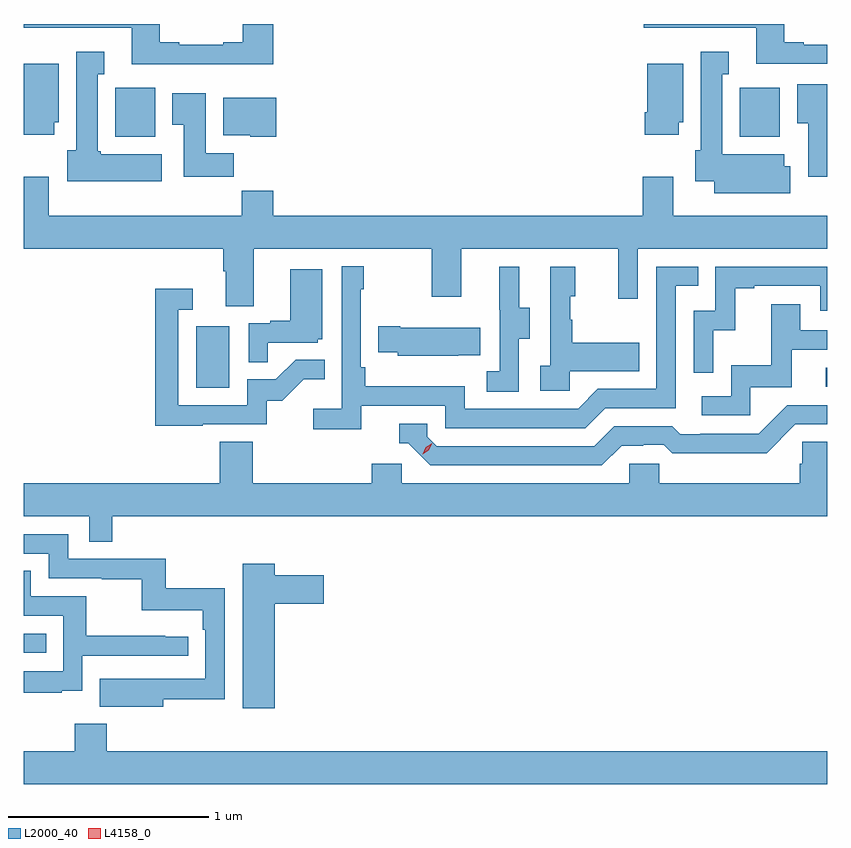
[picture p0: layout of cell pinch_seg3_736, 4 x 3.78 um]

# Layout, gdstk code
import gdstk
lib = gdstk.Library(unit=1e-6, precision=1e-09)
def R(c, l, rs):  # rectangles x0, y0, x1, y1
    for r in rs: c.add(gdstk.rectangle(r[:2], r[2:], *l))
def P(c, l, *ps):  # polygons
    for p in ps: c.add(gdstk.Polygon(p, *l))
L2000_40 = (2000, 40)
L4158_0 = (4158, 0)

pinch_seg3_736 = lib.new_cell('pinch_seg3_736')
R(pinch_seg3_736, L2000_40, [(885.517,734.868,885.629,734.964), (886.376,736.188,886.54,736.495), (889.509,736.194,889.517,736.287), (885.974,737.438,886.171,737.68), (889.082,737.438,889.279,737.68)])
P(pinch_seg3_736, L2000_40, [(886.76,737.998),(886.607,737.998),(886.607,737.908),(886.511,737.908),(886.511,737.895),(886.291,737.895),(886.291,737.908),(886.195,737.908),(886.195,737.998),(885.517,737.998),(885.517,737.979),(886.055,737.979),(886.055,737.798),(886.76,737.798)],
  [(889.517,737.895),(889.399,737.895),(889.399,737.908),(889.303,737.908),(889.303,737.998),(888.603,737.998),(888.603,737.979),(889.163,737.979),(889.163,737.799),(889.517,737.799)],
  [(886.204,737.35),(885.9,737.35),(885.9,737.364),(885.886,737.364),(885.886,737.747),(885.919,737.747),(885.919,737.86),(885.779,737.86),(885.779,737.37),(885.734,737.37),(885.734,737.216),(886.204,737.216)],
  [(889.333,737.291),(889.303,737.291),(889.303,737.35),(888.994,737.35),(888.994,737.747),(889.027,737.747),(889.027,737.86),(888.887,737.86),(888.887,737.37),(888.86,737.37),(888.86,737.216),(888.953,737.216),(888.953,737.156),(889.333,737.156)],
  [(888.778,737.508),(888.799,737.508),(888.799,737.8),(888.62,737.8),(888.62,737.56),(888.608,737.56),(888.608,737.448),(888.778,737.448)],
  [(885.67,737.508),(885.691,737.508),(885.691,737.8),(885.517,737.8),(885.517,737.448),(885.67,737.448)],
  [(889.517,737.698),(889.367,737.698),(889.367,737.504),(889.421,737.504),(889.421,737.238),(889.517,737.238)],
  [(886.562,737.356),(886.423,737.356),(886.423,737.653),(886.256,737.653),(886.256,737.497),(886.313,737.497),(886.313,737.238),(886.562,737.238)],
  [(886.775,737.632),(886.511,737.632),(886.511,737.444),(886.644,737.444),(886.644,737.438),(886.775,737.438)],
  [(886.663,736.88),(887.548,736.88),(887.548,736.641),(887.695,736.641),(887.695,736.88),(888.476,736.88),(888.476,736.632),(888.573,736.632),(888.573,736.88),(889.517,736.88),(889.517,737.044),(888.751,737.044),(888.751,737.239),(888.599,737.239),(888.599,737.044),(886.76,737.044),(886.76,737.168),(886.603,737.168),(886.603,737.044),(885.643,737.044),(885.643,737.239),(885.517,737.239),(885.517,736.88),(886.511,736.88),(886.511,736.768),(886.523,736.768),(886.523,736.594),(886.663,736.594)],
  [(887.198,736.098),(887.616,736.098),(887.616,735.987),(888.313,735.987),(888.412,736.086),(888.762,736.086),(888.762,736.695),(888.875,736.695),(888.875,736.791),(888.666,736.791),(888.666,736.182),(888.375,736.182),(888.276,736.083),(887.712,736.083),(887.712,736.195),(887.216,736.195),(887.216,736.291),(887.196,736.291),(887.196,736.679),(887.209,736.679),(887.209,736.792),(887.1,736.792),(887.1,736.084),(886.959,736.084),(886.959,735.982),(887.198,735.982)],
  [(888.948,736.475),(889.058,736.475),(889.058,736.683),(889.153,736.683),(889.153,736.695),(889.482,736.695),(889.482,736.572),(889.517,736.572),(889.517,736.791),(888.96,736.791),(888.96,736.572),(888.852,736.572),(888.852,736.263),(888.948,736.263)],
  [(887.982,736.432),(888.037,736.432),(888.037,736.587),(887.983,736.587),(887.983,736.789),(887.885,736.789),(887.885,736.575),(887.886,736.575),(887.886,736.271),(887.823,736.271),(887.823,736.168),(887.982,736.168)],
  [(888.234,736.271),(888.581,736.271),(888.581,736.411),(888.247,736.411),(888.247,736.526),(888.237,736.526),(888.237,736.644),(888.262,736.644),(888.262,736.789),(888.138,736.789),(888.138,736.298),(888.087,736.298),(888.087,736.173),(888.234,736.173)],
  [(886.733,736.413),(886.98,736.413),(886.98,736.428),(887.002,736.428),(887.002,736.777),(886.844,736.777),(886.844,736.522),(886.745,736.522),(886.745,736.509),(886.638,736.509),(886.638,736.315),(886.733,736.315)],
  [(886.409,736.005),(886.728,736.005),(886.728,736.122),(886.804,736.122),(886.911,736.229),(887.015,736.229),(887.015,736.328),(886.871,736.328),(886.773,736.23),(886.629,736.23),(886.629,736.101),(886.287,736.101),(886.287,736.575),(886.36,736.575),(886.36,736.681),(886.171,736.681),(886.171,736),(886.409,736)],
  [(889.134,736.191),(889.339,736.191),(889.339,736.377),(889.517,736.377),(889.517,736.473),(889.381,736.473),(889.381,736.603),(889.237,736.603),(889.237,736.3),(889.038,736.3),(889.038,736.146),(888.891,736.146),(888.891,736.05),(889.134,736.05)],
  [(887.681,736.349),(887.789,736.349),(887.789,736.486),(887.392,736.486),(887.392,736.494),(887.281,736.494),(887.281,736.364),(887.379,736.364),(887.379,736.346),(887.681,736.346)],
  [(888.493,735.9),(888.6,735.9),(888.6,735.903),(888.703,735.903),(888.745,735.861),(888.978,735.861),(888.978,735.863),(889.214,735.863),(889.356,736.005),(889.517,736.005),(889.517,736.101),(889.317,736.101),(889.176,735.96),(888.883,735.96),(888.883,735.957),(888.784,735.957),(888.745,735.996),(888.456,735.996),(888.357,735.897),(887.574,735.897),(887.526,735.945),(887.526,736.008),(887.387,736.008),(887.387,735.912),(887.43,735.912),(887.541,735.801),(888.394,735.801)],
  [(885.959,735.548),(889.517,735.548),(889.517,735.92),(889.393,735.92),(889.393,735.81),(889.379,735.81),(889.379,735.712),(888.681,735.712),(888.681,735.81),(888.531,735.81),(888.531,735.712),(887.4,735.712),(887.4,735.81),(887.249,735.81),(887.249,735.712),(886.658,735.712),(886.658,735.92),(886.493,735.92),(886.493,735.712),(885.517,735.712),(885.517,735.548),(885.843,735.548),(885.843,735.421),(885.959,735.421)],
  [(886.213,734.638),(886.518,734.638),(886.518,735.19),(886.225,735.19),(886.225,735.336),(885.738,735.336),(885.738,735.459),(885.517,735.459),(885.517,735.363),(885.642,735.363),(885.642,735.24),(885.907,735.24),(885.907,735.235),(886.104,735.235),(886.104,735.08),(886.409,735.08),(886.409,734.984),(886.422,734.984),(886.422,734.739),(886.109,734.739),(886.109,734.74),(885.895,734.74),(885.895,734.6),(886.213,734.6)],
  [(886.768,735.113),(887.011,735.113),(887.011,735.255),(886.768,735.255),(886.768,735.313),(886.607,735.313),(886.607,734.592),(886.768,734.592)],
  [(885.707,734.681),(885.81,734.681),(885.81,734.853),(886.336,734.853),(886.336,734.949),(886.223,734.949),(886.223,734.954),(885.83,734.954),(885.83,735.15),(885.553,735.15),(885.553,735.278),(885.517,735.278),(885.517,735.054),(885.714,735.054),(885.714,734.778),(885.517,734.778),(885.517,734.67),(885.707,734.67)],
  [(889.517,734.38),(885.932,734.38),(885.932,734.515),(885.772,734.515),(885.772,734.38),(885.517,734.38),(885.517,734.216),(889.517,734.216)])
P(pinch_seg3_736, L4158_0, [(887.504,735.858),(887.504,735.858),(887.519,735.891),(887.55,735.911),(887.55,735.911),(887.55,735.911),(887.534,735.878),(887.504,735.858)])

lib.write_gds('pinch_seg3_736.gds')
